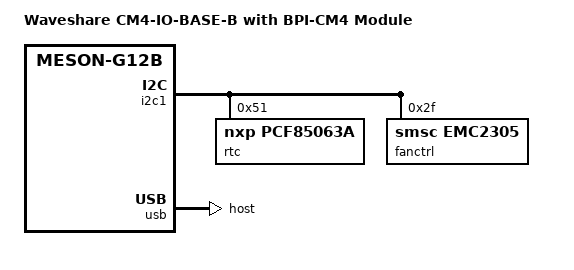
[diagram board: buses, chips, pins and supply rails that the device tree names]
// SPDX-License-Identifier: (GPL-2.0+ OR MIT)
/*
 * Copyright (c) 2024 Patrick Yavitz <pyavitz@xxxxx.com>
 */

/dts-v1/;

#include "meson-g12b-bananapi-cm4-cm4io.dts"

/ {
	compatible = "bananapi,bpi-cm4io", "bananapi,bpi-cm4", "amlogic,a311d", "amlogic,g12b";
	model = "Waveshare CM4-IO-BASE-B with BPI-CM4 Module";

	aliases {
		rtc0 = &rtc;
	};
};

&i2c1 {
	rtc: rtc@51 {
		compatible = "nxp,pcf85063a";
		reg = <0x51>;
		wakeup-source;
	};

	fanctrl: emc2305@2f {
		compatible = "smsc,emc2305";
		reg = <0x2f>;
		#cooling-cells = <0x02>;
		wakeup-source;
	};
};

&cpu_thermal {
	trips {
		fanmid0: fanmid0 {
			temperature = <60000>;
			hysteresis = <2000>;
			type = "active";
		};
	
		fanmax0: fanmax0 {
			temperature = <65000>;
			hysteresis = <2000>;
			type = "active";
		};
	};

	cooling-maps {
		map0 {
			trip = <&fanmid0>;
			cooling-device = <&fanctrl 2 6>;
		};

		map1 {
			trip = <&fanmax0>;
			cooling-device = <&fanctrl 7 THERMAL_NO_LIMIT>;
		};
	};
};

&usb {
	dr_mode = "host";
};
